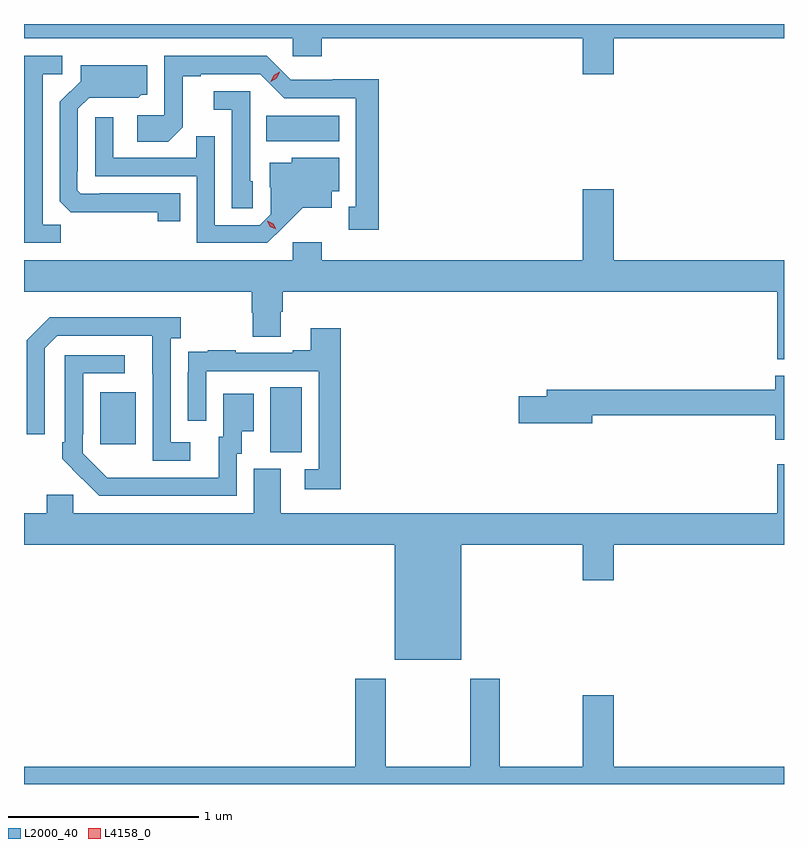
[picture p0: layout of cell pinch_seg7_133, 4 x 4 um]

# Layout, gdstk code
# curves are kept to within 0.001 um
import gdstk
lib = gdstk.Library(unit=1e-6, precision=1e-09)
def R(c, l, rs):  # rectangles x0, y0, x1, y1
    for r in rs: c.add(gdstk.rectangle(r[:2], r[2:], *l))
def P(c, l, *ps):  # polygons
    for p in ps: c.add(gdstk.Polygon(p, *l))
L2000_40 = (2000, 40)
L4158_0 = (4158, 0)

pinch_seg7_133 = lib.new_cell('pinch_seg7_133')
R(pinch_seg7_133, L2000_40, [(1074.452,1006.429,1074.616,1006.772), (1073.555,1006.473,1073.743,1006.747), (1074.43,1008.068,1074.814,1008.202)])
P(pinch_seg7_133, L2000_40, [(1076.26,1008.608),(1077.155,1008.608),(1077.155,1008.684),(1073.155,1008.684),(1073.155,1008.608),(1074.57,1008.608),(1074.57,1008.515),(1074.722,1008.515),(1074.722,1008.608),(1076.096,1008.608),(1076.096,1008.42),(1076.26,1008.42)],
  [(1075.021,1008.392),(1074.78,1008.392),(1074.78,1008.39),(1074.558,1008.39),(1074.432,1008.516),(1073.892,1008.516),(1073.892,1008.204),(1073.751,1008.204),(1073.751,1008.064),(1073.915,1008.064),(1073.991,1008.14),(1073.991,1008.408),(1074.085,1008.408),(1074.085,1008.42),(1074.399,1008.42),(1074.525,1008.294),(1074.902,1008.294),(1074.902,1007.721),(1074.863,1007.721),(1074.863,1007.601),(1075.021,1007.601)],
  [(1073.349,1007.627),(1073.253,1007.627),(1073.253,1008.42),(1073.356,1008.42),(1073.356,1008.516),(1073.157,1008.516),(1073.157,1007.532),(1073.349,1007.532)],
  [(1073.978,1007.793),(1073.554,1007.793),(1073.554,1007.79),(1073.454,1007.79),(1073.436,1007.808),(1073.436,1007.908),(1073.439,1007.908),(1073.439,1008.237),(1073.499,1008.297),(1073.756,1008.296),(1073.772,1008.312),(1073.803,1008.312),(1073.803,1008.466),(1073.453,1008.466),(1073.453,1008.384),(1073.343,1008.274),(1073.343,1007.752),(1073.402,1007.693),(1073.86,1007.692),(1073.86,1007.646),(1073.978,1007.646)],
  [(1074.36,1007.856),(1074.345,1007.856),(1074.345,1008.33),(1074.153,1008.33),(1074.153,1008.233),(1074.249,1008.233),(1074.249,1007.713),(1074.36,1007.713)],
  [(1074.52,1007.615),(1074.623,1007.717),(1074.775,1007.717),(1074.775,1007.804),(1074.814,1007.804),(1074.814,1007.98),(1074.564,1007.98),(1074.564,1007.953),(1074.449,1007.953),(1074.449,1007.824),(1074.453,1007.824),(1074.453,1007.682),(1074.396,1007.625),(1074.159,1007.625),(1074.159,1008.092),(1074.061,1008.092),(1074.061,1007.979),(1073.625,1007.979),(1073.625,1008.193),(1073.529,1008.193),(1073.529,1007.883),(1074.063,1007.883),(1074.063,1007.532),(1074.436,1007.532)],
  [(1077.155,1007.44),(1076.26,1007.44),(1076.26,1007.815),(1076.096,1007.815),(1076.096,1007.44),(1074.722,1007.44),(1074.722,1007.536),(1074.57,1007.536),(1074.57,1007.44),(1073.155,1007.44),(1073.155,1007.276),(1074.353,1007.276),(1074.353,1007.163),(1074.358,1007.163),(1074.358,1007.038),(1074.505,1007.038),(1074.505,1007.17),(1074.518,1007.17),(1074.518,1007.276),(1077.119,1007.276),(1077.119,1006.919),(1077.155,1006.919)],
  [(1074.031,1006.482),(1073.928,1006.482),(1073.928,1007.03),(1073.98,1007.03),(1073.98,1007.14),(1073.29,1007.14),(1073.169,1007.019),(1073.169,1006.524),(1073.265,1006.524),(1073.265,1006.977),(1073.331,1007.043),(1073.831,1007.043),(1073.832,1006.386),(1074.031,1006.386)],
  [(1074.821,1007.083),(1074.665,1007.083),(1074.665,1006.966),(1074.569,1006.966),(1074.569,1006.953),(1074.269,1006.953),(1074.269,1006.966),(1074.121,1006.966),(1074.121,1006.959),(1074.019,1006.959),(1074.019,1006.85),(1074.018,1006.85),(1074.018,1006.596),(1074.114,1006.596),(1074.114,1006.857),(1074.705,1006.857),(1074.705,1006.341),(1074.633,1006.341),(1074.633,1006.236),(1074.821,1006.236)],
  [(1074.276,1006.422),(1074.301,1006.422),(1074.301,1006.541),(1074.364,1006.541),(1074.364,1006.738),(1074.203,1006.738),(1074.203,1006.512),(1074.179,1006.512),(1074.179,1006.296),(1073.592,1006.297),(1073.463,1006.425),(1073.463,1006.525),(1073.466,1006.525),(1073.466,1006.845),(1073.686,1006.845),(1073.686,1006.941),(1073.37,1006.941),(1073.37,1006.483),(1073.355,1006.483),(1073.355,1006.395),(1073.552,1006.2),(1074.276,1006.2)],
  [(1077.155,1006.833),(1077.11,1006.833),(1077.11,1006.76),(1075.907,1006.76),(1075.907,1006.724),(1075.758,1006.724),(1075.758,1006.582),(1076.146,1006.582),(1076.146,1006.624),(1077.11,1006.624),(1077.11,1006.496),(1077.155,1006.496)],
  [(1075.456,1005.944),(1076.096,1005.944),(1076.096,1005.756),(1076.26,1005.756),(1076.26,1005.944),(1077.155,1005.944),(1077.155,1006.366),(1077.119,1006.366),(1077.119,1006.108),(1074.505,1006.108),(1074.505,1006.344),(1074.365,1006.344),(1074.365,1006.108),(1073.415,1006.108),(1073.415,1006.206),(1073.276,1006.206),(1073.276,1006.108),(1073.155,1006.108),(1073.155,1005.944),(1075.106,1005.944),(1075.106,1005.338),(1075.456,1005.338)],
  [(1077.155,1004.776),(1076.26,1004.776),(1076.26,1005.151),(1076.096,1005.151),(1076.096,1004.776),(1075.659,1004.776),(1075.659,1005.238),(1075.504,1005.238),(1075.504,1004.776),(1075.059,1004.776),(1075.059,1005.238),(1074.899,1005.238),(1074.899,1004.776),(1073.155,1004.776),(1073.155,1004.684),(1077.155,1004.684)])
P(pinch_seg7_133, L4158_0, [(1074.483,1007.603),(1074.452,1007.618),(1074.435,1007.647),(1074.435,1007.648),(1074.436,1007.648),(1074.466,1007.632),(1074.483,1007.603),(1074.483,1007.603)],
  [(1074.453,1008.38),(1074.453,1008.38),(1074.47,1008.413),(1074.501,1008.432),(1074.501,1008.432),(1074.501,1008.432),(1074.484,1008.399),(1074.453,1008.38)])

lib.write_gds('pinch_seg7_133.gds')
